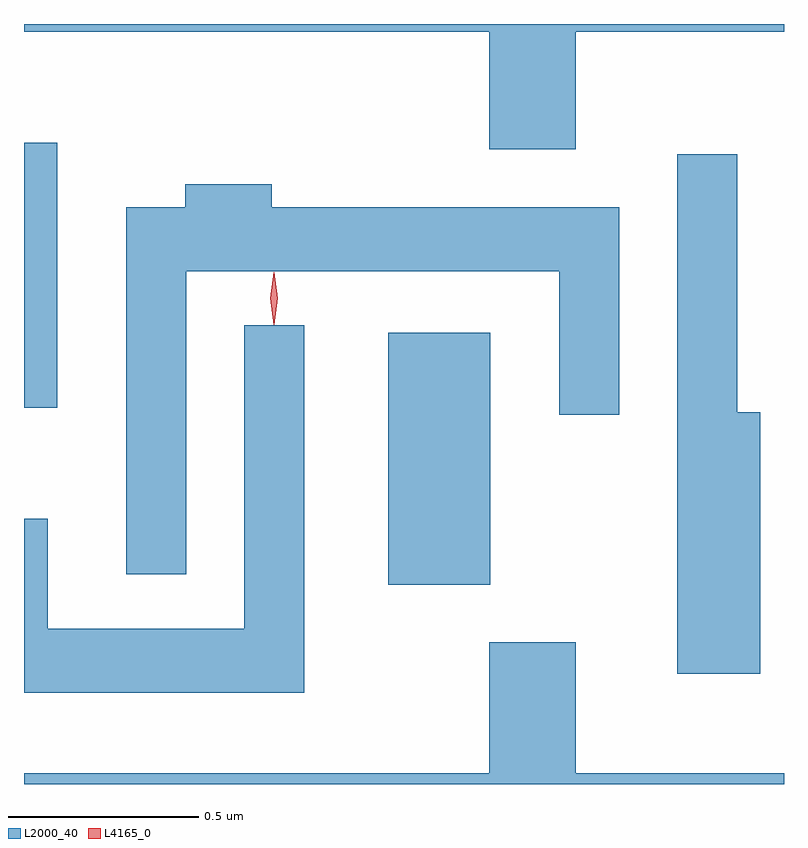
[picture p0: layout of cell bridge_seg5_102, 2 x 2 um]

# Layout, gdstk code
import gdstk
lib = gdstk.Library(unit=1e-6, precision=1e-09)
def R(c, l, rs):  # rectangles x0, y0, x1, y1
    for r in rs: c.add(gdstk.rectangle(r[:2], r[2:], *l))
def P(c, l, *ps):  # polygons
    for p in ps: c.add(gdstk.Polygon(p, *l))
L2000_40 = (2000, 40)
L4165_0 = (4165, 0)

bridge_seg5_102 = lib.new_cell('bridge_seg5_102')
R(bridge_seg5_102, L2000_40, [(1191.316,1501.961,1191.584,1502.624), (1190.357,1502.426,1190.444,1503.124)])
P(bridge_seg5_102, L2000_40, [(1191.809,1503.416),(1192.357,1503.416),(1192.357,1503.436),(1190.357,1503.436),(1190.357,1503.416),(1191.581,1503.416),(1191.581,1503.106),(1191.809,1503.106)],
  [(1192.294,1502.414),(1192.234,1502.414),(1192.234,1503.093),(1192.076,1503.093),(1192.076,1501.726),(1192.294,1501.726)],
  [(1190.784,1502.786),(1191.766,1502.786),(1191.766,1502.408),(1191.924,1502.408),(1191.924,1502.954),(1191.009,1502.954),(1191.009,1503.014),(1190.781,1503.014),(1190.781,1502.954),(1190.626,1502.954),(1190.626,1501.988),(1190.784,1501.988)],
  [(1191.094,1502.643),(1190.936,1502.643),(1190.936,1501.844),(1190.419,1501.844),(1190.419,1502.134),(1190.357,1502.134),(1190.357,1501.676),(1191.094,1501.676)],
  [(1192.357,1501.464),(1191.809,1501.464),(1191.809,1501.809),(1191.581,1501.809),(1191.581,1501.464),(1190.357,1501.464),(1190.357,1501.436),(1192.357,1501.436)])
P(bridge_seg5_102, L4165_0, [(1191.014,1502.647),(1191.005,1502.714),(1191.014,1502.78),(1191.015,1502.781),(1191.015,1502.78),(1191.025,1502.714),(1191.015,1502.647),(1191.015,1502.647)],
  [(1191.014,1502.644),(1191.005,1502.714),(1191.014,1502.783),(1191.015,1502.783),(1191.015,1502.783),(1191.025,1502.714),(1191.015,1502.644),(1191.015,1502.644)])

lib.write_gds('bridge_seg5_102.gds')
